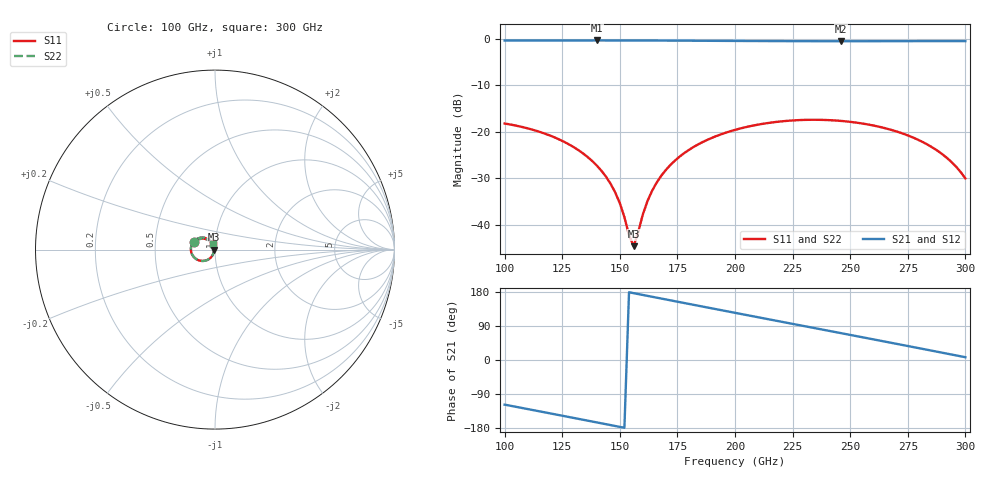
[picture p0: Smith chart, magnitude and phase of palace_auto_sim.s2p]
#  GHZ S DB R 50
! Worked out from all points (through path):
!   101 points, 100 GHz to 300 GHz, reference 50 ohm
!   highest |S21| = -0.40 dB at 140 GHz (marker M1); lowest = -0.6 dB at 246 GHz (marker M2)
!   group delay of S21, straight-line fit = 3.26 ps
!   lowest |S11| = -44.6 dB at 156 GHz (marker M3), VSWR 1.01, Z = 49.4 - j0.0521 ohm
!   |S11| at or under -10 dB: start of sweep to end of sweep
!   |S22| runs from -44.6 to -17.4 dB; largest |S21 - S12| = 1.1e-14
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100  -18.24 160.4  -0.41 -117.8  -0.41 -117.8  -18.23 160.4
120  -20.88 137.4  -0.41 -141.2  -0.41 -141.2  -20.88 137.5
134  -24.64 122.7  -0.40 -157.6  -0.40 -157.6  -24.64 122.7
140  -27.26 117.5  -0.40 -164.7  -0.40 -164.7  -27.25 117.5
144  -29.66 115.2  -0.40 -169.4  -0.40 -169.4  -29.66 115.2
148  -33.02 115.4  -0.40 -174.2  -0.40 -174.2  -33.02 115.3
150  -35.34 117.8  -0.40 -176.5  -0.40 -176.5  -35.34 117.8
154  -42.21 142.3  -0.40 178.7  -0.40 178.7  -42.24 142.2
156  -44.58 -174.9  -0.40 176.4  -0.40 176.4  -44.62 -174.8
162  -34.91 -115.8  -0.41 169.3  -0.41 169.3  -34.91 -115.7
168  -29.45 -113.9  -0.42 162.2  -0.42 162.2  -29.45 -113.8
174  -26.17 -117.8  -0.44 155.1  -0.44 155.1  -26.17 -117.7
182  -23.29 -125.2  -0.45 145.6  -0.45 145.6  -23.28 -125.2
200  -19.61 -144.1  -0.50 124.5  -0.50 124.5  -19.60 -144.2
218  -17.89 -163.8  -0.54 103.5  -0.54 103.5  -17.89 -163.9
234  -17.43 178.5  -0.56 84.9  -0.56 84.9  -17.43 178.3
246  -17.68 165.1  -0.56 70.9  -0.56 70.9  -17.68 164.9
268  -19.63 141.0  -0.55 45.1  -0.55 45.1  -19.63 140.6
278  -21.40 130.4  -0.54 33.4  -0.54 33.4  -21.41 129.8
288  -24.12 120.8  -0.53 21.5  -0.53 21.5  -24.14 119.8
294  -26.53 116.2  -0.53 14.4  -0.53 14.4  -26.57 114.8
300  -30.03 114.1  -0.53 7.3  -0.53 7.3  -30.12 111.9
